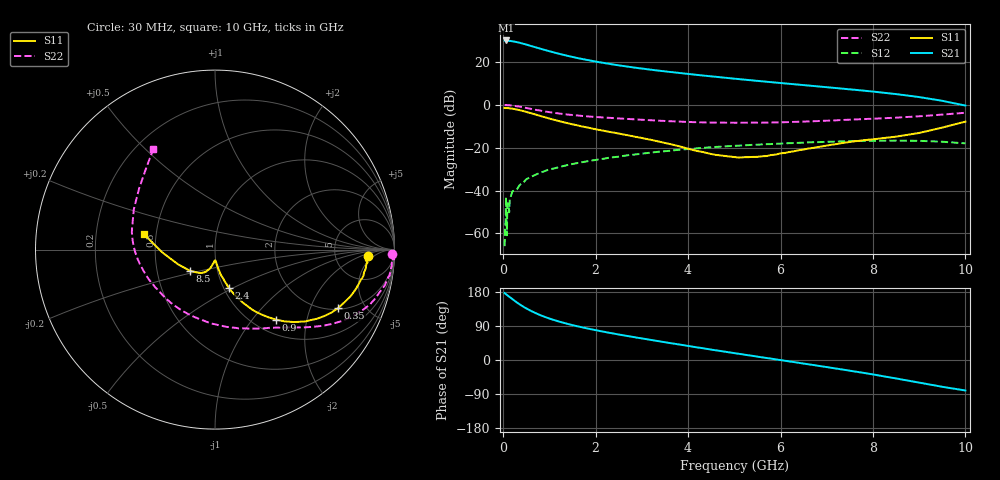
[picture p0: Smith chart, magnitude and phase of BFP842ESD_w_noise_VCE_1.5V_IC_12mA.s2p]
! Infineon Technologies  Discrete & RF Semiconductors
! BFP842ESD
! VCE =  1.5 V,  IC =  12 mA
! Common Emitter S-Parameters:  May 2012
# GHz  S  MA  R  50
!  f  S11  S21  S12  S22
! GHz  MAG  ANG  MAG  ANG  MAG  ANG  MAG  ANG
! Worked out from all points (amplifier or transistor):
!   99 points, 30 MHz to 10 GHz, reference 50 ohm
!   highest |S21| = 30.2 dB at 60 MHz (marker M1)
!   |S21| within 3 dB of that: start of sweep to 669.1 MHz
!   unconditionally stable (mu >= 1): 2.543 GHz to end of sweep
!   at 350 MHz: K = 0.29, MSG = 33.3 dB, |S12| = -37.6 dB
!   at 3.5 GHz: K = 1.07, MAG = 17.0 dB, |S12| = -21.6 dB
!   at 10 GHz: K = 1.94, MAG = 3.3 dB, |S12| = -18.0 dB
!   lowest NFmin = 0.63 dB at 450 MHz
!   S11 on the Smith chart (normalised r, x): 30 MHz: 12, -3; 350 MHz: 2.06, -3.17; 900 MHz: 1.24, -1.32; 2.4 GHz: 1.06, -0.47; 8.5 GHz: 0.74, -0.18; 10 GHz: 0.43, +0.09
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0.03  0.8505 -2.3  32 176.9  0.0005 -153.6  0.9881 -1.4
0.05  0.8423 -4.1  31.73 174.5  0.0018 38.7  0.9896 -3.0
0.06  0.8532 -4.9  32.21 173.6  0.007 100.5  1 -3.2
0.08  0.8463 -6.1  31.88 171.7  0.0009 59.5  0.9873 -4.3
0.09  0.8467 -7.0  31.45 171.1  0.0048 83.3  0.9895 -5.1
0.11  0.8396 -8.7  31.86 168.8  0.0039 79.8  0.9863 -6.3
0.25  0.7994 -18.9  30.2 155.9  0.0101 82.3  0.947 -14.6
0.35  0.7588 -25.5  28.54 147.4  0.0132 76.4  0.9142 -19.7
0.5  0.6876 -34.0  25.83 136.1  0.0184 71.8  0.8508 -26.0
0.6  0.6419 -38.6  23.97 129.6  0.0209 67.4  0.8096 -29.5
0.8  0.5545 -46.1  20.72 118.4  0.0261 64.9  0.7379 -35.1
0.9  0.5163 -49.0  19.3 113.8  0.0285 61.8  0.7058 -37.4
1.2  0.4213 -56.2  15.8 101.7  0.0351 59.2  0.633 -43.2
1.4  0.3728 -59.5  14.03 95.1  0.0396 56.4  0.596 -46.6
1.7  0.315 -63.4  11.93 86.4  0.0457 54.0  0.5546 -51.5
2  0.2707 -66.8  10.33 78.7  0.0518 51.4  0.5243 -56.5
2.4  0.225 -70.1  8.749 69.5  0.0602 46.9  0.4922 -63.5
3.4  0.1367 -77.9  6.279 48.9  0.0813 36.3  0.4272 -84.5
5.1  0.0591 -88.7  4.02 16.3  0.1121 14.0  0.3842 -127.5
6.7  0.099 -102.7  2.785 -13.1  0.1345 -7.9  0.416 -163.8
8.5  0.1819 -139.2  1.796 -48.7  0.1469 -37.8  0.5047 153.7
10  0.4076 167.5  0.967 -80.5  0.1266 -68.2  0.6573 121.5
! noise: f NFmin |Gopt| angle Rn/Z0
0.45  0.63  0.11  0  0.11
0.9  0.64  0.11  2  0.1
1.5  0.65  0.11  6  0.09
1.9  0.66  0.1  15  0.08
2.4  0.67  0.08  19  0.08
3.5  0.74  0.03  146  0.08
4  0.78  0.05  -160  0.07
5  0.85  0.08  -132  0.07
5.5  0.95  0.1  -127  0.08
6  1.05  0.11  -121  0.1
